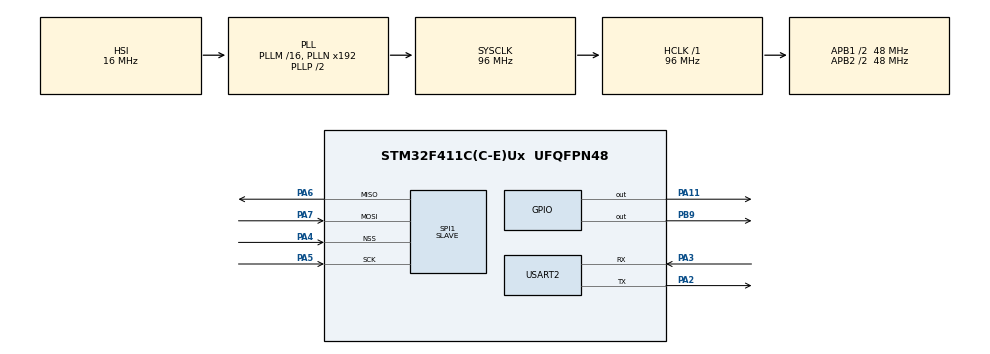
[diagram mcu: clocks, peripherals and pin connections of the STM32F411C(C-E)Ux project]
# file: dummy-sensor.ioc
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Dma.Request0=SPI1_RX
Dma.Request1=SPI1_TX
Dma.SPI1_RX.0.Direction=DMA_PERIPH_TO_MEMORY
Dma.SPI1_RX.0.FIFOMode=DMA_FIFOMODE_DISABLE
Dma.SPI1_RX.0.Instance=DMA2_Stream0
Dma.SPI1_RX.0.MemDataAlignment=DMA_MDATAALIGN_BYTE
Dma.SPI1_RX.0.MemInc=DMA_MINC_ENABLE
Dma.SPI1_RX.0.Mode=DMA_NORMAL
Dma.SPI1_RX.0.PeriphDataAlignment=DMA_PDATAALIGN_BYTE
Dma.SPI1_RX.0.PeriphInc=DMA_PINC_DISABLE
Dma.SPI1_RX.0.Priority=DMA_PRIORITY_LOW
Dma.SPI1_TX.1.Direction=DMA_MEMORY_TO_PERIPH
Dma.SPI1_TX.1.FIFOMode=DMA_FIFOMODE_DISABLE
Dma.SPI1_TX.1.Instance=DMA2_Stream2
Dma.SPI1_TX.1.MemDataAlignment=DMA_MDATAALIGN_BYTE
Dma.SPI1_TX.1.MemInc=DMA_MINC_ENABLE
Dma.SPI1_TX.1.Mode=DMA_CIRCULAR
Dma.SPI1_TX.1.PeriphDataAlignment=DMA_PDATAALIGN_BYTE
Dma.SPI1_TX.1.PeriphInc=DMA_PINC_DISABLE
Dma.SPI1_TX.1.Priority=DMA_PRIORITY_LOW
Mcu.Family=STM32F4
Mcu.Name=STM32F411C(C-E)Ux
Mcu.Package=UFQFPN48
NVIC.DMA2_Stream0_IRQn=true\:0\:0\:false\:false\:true\:false\:true\:true
NVIC.DMA2_Stream2_IRQn=true\:0\:0\:false\:false\:true\:false\:true\:true
NVIC.PriorityGroup=NVIC_PRIORITYGROUP_4
NVIC.SPI1_IRQn=true\:0\:0\:false\:false\:true\:true\:true\:true
PA11.Signal=GPIO_Output
PA13.Mode=Serial_Wire
PA13.Signal=SYS_JTMS-SWDIO
PA14.Mode=Serial_Wire
PA14.Signal=SYS_JTCK-SWCLK
PA2.Mode=Asynchronous
PA2.Signal=USART2_TX
PA3.Mode=Asynchronous
PA3.Signal=USART2_RX
PA4.Mode=NSS_Signal_Hard_Input
PA4.Signal=SPI1_NSS
PA5.Mode=Full_Duplex_Slave
PA5.Signal=SPI1_SCK
PA6.Mode=Full_Duplex_Slave
PA6.Signal=SPI1_MISO
PA7.Mode=Full_Duplex_Slave
PA7.Signal=SPI1_MOSI
PB9.Signal=GPIO_Output
ProjectManager.HeapSize=0x200
ProjectManager.StackSize=0x400
ProjectManager.TargetToolchain=STM32CubeIDE
RCC.AHBFreq_Value=96000000
RCC.APB1CLKDivider=RCC_HCLK_DIV2
RCC.APB1Freq_Value=48000000
RCC.APB1TimFreq_Value=96000000
RCC.APB2CLKDivider=RCC_HCLK_DIV2
RCC.APB2Freq_Value=48000000
RCC.APB2TimFreq_Value=96000000
RCC.CortexFreq_Value=96000000
RCC.HCLKFreq_Value=96000000
RCC.HSE_VALUE=25000000
RCC.HSI_VALUE=16000000
RCC.LSE_VALUE=32768
RCC.SYSCLKFreq_VALUE=96000000
RCC.SYSCLKSource=RCC_SYSCLKSOURCE_PLLCLK
RCC.VCOOutputFreq_Value=192000000
SPI1.Direction=SPI_DIRECTION_2LINES
SPI1.Mode=SPI_MODE_SLAVE
SPI1.VirtualNSS=VM_NSSHARD
SPI1.VirtualType=VM_SLAVE
USART2.VirtualMode=VM_ASYNC
board=custom

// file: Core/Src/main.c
/* USER CODE BEGIN Header */
/**
  ******************************************************************************
  * @file           : main.c
  * @brief          : Main program body
  ******************************************************************************
  * @attention
  *
  * Copyright (c) 2025 STMicroelectronics.
  * All rights reserved.
  *
  * This software is licensed under terms that can be found in the LICENSE file
  * in the root directory of this software component.
  * If no LICENSE file comes with this software, it is provided AS-IS.
  *
  ******************************************************************************
  */
/* USER CODE END Header */
#include "main.h"

/* USER CODE BEGIN Includes */

#include "stdio.h"
#include "string.h"
#include "stdbool.h"

/* USER CODE END Includes */

SPI_HandleTypeDef hspi1;
DMA_HandleTypeDef hdma_spi1_rx;
DMA_HandleTypeDef hdma_spi1_tx;

UART_HandleTypeDef huart2;

/* USER CODE BEGIN PV */

//uint32_t dummyData = 35;

volatile uint8_t dataReceived = 0;
uint32_t num_bytes = 0;
uint8_t ackByte = 67;
char buffer[4];
#define BUFFER_SIZE 32768
#define NUM_BUFFER_ELEMENTS BUFFER_SIZE
#define HALF_BUFFER_ELEMENTS NUM_BUFFER_ELEMENTS / 2

uint8_t outputBuffer[NUM_BUFFER_ELEMENTS];

volatile uint32_t curr_transmitted_num = 0;
volatile bool first_half_empty = false;
volatile bool second_half_empty = false;

/* USER CODE END PV */

void SystemClock_Config(void);
static void MX_GPIO_Init(void);
static void MX_DMA_Init(void);
static void MX_SPI1_Init(void);
static void MX_USART2_UART_Init(void);

/* USER CODE BEGIN 0 */

int __io_putchar(int ch) {
      HAL_UART_Transmit(&huart2, (uint8_t*) &ch, 1, 0xFFFF);
      return ch;
}

void HAL_SPI_RxCpltCallback(SPI_HandleTypeDef *hspi)
{
    dataReceived = true;
}

void HAL_SPI_TxHalfCpltCallback(SPI_HandleTypeDef *hspi)
{
//	first_half_empty = true;
	curr_transmitted_num += HALF_BUFFER_ELEMENTS;

}

void HAL_SPI_TxCpltCallback(SPI_HandleTypeDef *hspi)
{
	curr_transmitted_num += HALF_BUFFER_ELEMENTS;
}

enum Comm_State{
	IDLE,
	AWAITING_ARG,
	TRANSMITTING
};

enum Comm_State curr_comm_state = IDLE;

/* USER CODE END 0 */

int main(void)
{

  /* MCU Configuration--------------------------------------------------------*/

  /* Reset of all peripherals, Initializes the Flash interface and the Systick. */
  HAL_Init();

  /* Configure the system clock */
  SystemClock_Config();

  /* Initialize all configured peripherals */
  MX_GPIO_Init();
  MX_DMA_Init();
  MX_SPI1_Init();
  MX_USART2_UART_Init();
  /* USER CODE BEGIN 2 */
  HAL_SPI_Receive_DMA(&hspi1, (uint8_t *)buffer, 1);
//  HAL_SPI_Receive_DMA(&hspi1, &dummyData, (uint8_t *)buffer, 1);
//  HAL_SPI_Receive_DMA(&hspi1, (uint8_t *)buffer, 1);
  printf("I am waiting for the data\n");

  for (uint32_t i = 0; i < NUM_BUFFER_ELEMENTS; i++){
	  outputBuffer[i] = i % 256;
	  curr_transmitted_num++;
//	  printf("%u\n",outputBuffer[i]);
  }
//  outputBuffer[133] = 0x67;
//  printf("initialized buffer[15] is %u\n", (unsigned)buffer[15]);
  /* USER CODE END 2 */

  /* Infinite loop */
  /* USER CODE BEGIN WHILE */
  while (1)
  {

	  switch(curr_comm_state){
	  	  case(IDLE):
			if(dataReceived && buffer[0] == 'S'){
				HAL_SPI_Transmit(&hspi1, (uint8_t *)&ackByte, 1,  1000);
				HAL_SPI_Receive_DMA(&hspi1, (uint8_t *)buffer, 4);
				dataReceived = false;
				curr_comm_state = AWAITING_ARG;
				printf("sent the ack byte\n");
		    }
			else{
				HAL_SPI_Receive_DMA(&hspi1, (uint8_t *)buffer, 1);
			}
	  	  break;
	  	  case(AWAITING_ARG):
	  		if(dataReceived){
	  			num_bytes = *((uint32_t*)buffer);
	  			HAL_SPI_Transmit_DMA(&hspi1, (uint8_t *)outputBuffer, BUFFER_SIZE);
	  			dataReceived = false;
	  			printf("about to send %lu bytes\n", num_bytes);
	  			curr_comm_state = TRANSMITTING;
	  		}
	  	  break;
	  	  case(TRANSMITTING):
	  	  while (curr_transmitted_num*4 < num_bytes){
	  	  }
	  	  HAL_GPIO_WritePin(GPIOB, GPIO_PIN_9, GPIO_PIN_SET);
	  	  curr_comm_state = IDLE;

	  	  break;

	  };

    /* USER CODE END WHILE */

  }
}

void SystemClock_Config(void)
{
  RCC_OscInitTypeDef RCC_OscInitStruct = {0};
  RCC_ClkInitTypeDef RCC_ClkInitStruct = {0};

  /** Configure the main internal regulator output voltage
  */
  __HAL_RCC_PWR_CLK_ENABLE();
  __HAL_PWR_VOLTAGESCALING_CONFIG(PWR_REGULATOR_VOLTAGE_SCALE1);

  /** Initializes the RCC Oscillators according to the specified parameters
  * in the RCC_OscInitTypeDef structure.
  */
  RCC_OscInitStruct.OscillatorType = RCC_OSCILLATORTYPE_HSI;
  RCC_OscInitStruct.HSIState = RCC_HSI_ON;
  RCC_OscInitStruct.HSICalibrationValue = RCC_HSICALIBRATION_DEFAULT;
  RCC_OscInitStruct.PLL.PLLState = RCC_PLL_ON;
  RCC_OscInitStruct.PLL.PLLSource = RCC_PLLSOURCE_HSI;
  RCC_OscInitStruct.PLL.PLLM = 16;
  RCC_OscInitStruct.PLL.PLLN = 192;
  RCC_OscInitStruct.PLL.PLLP = RCC_PLLP_DIV2;
  RCC_OscInitStruct.PLL.PLLQ = 4;
  if (HAL_RCC_OscConfig(&RCC_OscInitStruct) != HAL_OK)
  {
    Error_Handler();
  }

  /** Initializes the CPU, AHB and APB buses clocks
  */
  RCC_ClkInitStruct.ClockType = RCC_CLOCKTYPE_HCLK|RCC_CLOCKTYPE_SYSCLK
                              |RCC_CLOCKTYPE_PCLK1|RCC_CLOCKTYPE_PCLK2;
  RCC_ClkInitStruct.SYSCLKSource = RCC_SYSCLKSOURCE_PLLCLK;
  RCC_ClkInitStruct.AHBCLKDivider = RCC_SYSCLK_DIV1;
  RCC_ClkInitStruct.APB1CLKDivider = RCC_HCLK_DIV2;
  RCC_ClkInitStruct.APB2CLKDivider = RCC_HCLK_DIV2;

  if (HAL_RCC_ClockConfig(&RCC_ClkInitStruct, FLASH_LATENCY_3) != HAL_OK)
  {
    Error_Handler();
  }
}

static void MX_SPI1_Init(void)
{

  /* SPI1 parameter configuration*/
  hspi1.Instance = SPI1;
  hspi1.Init.Mode = SPI_MODE_SLAVE;
  hspi1.Init.Direction = SPI_DIRECTION_2LINES;
  hspi1.Init.DataSize = SPI_DATASIZE_8BIT;
  hspi1.Init.CLKPolarity = SPI_POLARITY_LOW;
  hspi1.Init.CLKPhase = SPI_PHASE_1EDGE;
  hspi1.Init.NSS = SPI_NSS_HARD_INPUT;
  hspi1.Init.FirstBit = SPI_FIRSTBIT_MSB;
  hspi1.Init.TIMode = SPI_TIMODE_DISABLE;
  hspi1.Init.CRCCalculation = SPI_CRCCALCULATION_DISABLE;
  hspi1.Init.CRCPolynomial = 10;
  if (HAL_SPI_Init(&hspi1) != HAL_OK)
  {
    Error_Handler();
  }

}

static void MX_USART2_UART_Init(void)
{

  huart2.Instance = USART2;
  huart2.Init.BaudRate = 115200;
  huart2.Init.WordLength = UART_WORDLENGTH_8B;
  huart2.Init.StopBits = UART_STOPBITS_1;
  huart2.Init.Parity = UART_PARITY_NONE;
  huart2.Init.Mode = UART_MODE_TX_RX;
  huart2.Init.HwFlowCtl = UART_HWCONTROL_NONE;
  huart2.Init.OverSampling = UART_OVERSAMPLING_16;
  if (HAL_UART_Init(&huart2) != HAL_OK)
  {
    Error_Handler();
  }

}

static void MX_DMA_Init(void)
{

  /* DMA controller clock enable */
  __HAL_RCC_DMA2_CLK_ENABLE();

  /* DMA interrupt init */
  /* DMA2_Stream0_IRQn interrupt configuration */
  HAL_NVIC_SetPriority(DMA2_Stream0_IRQn, 0, 0);
  HAL_NVIC_EnableIRQ(DMA2_Stream0_IRQn);
  /* DMA2_Stream2_IRQn interrupt configuration */
  HAL_NVIC_SetPriority(DMA2_Stream2_IRQn, 0, 0);
  HAL_NVIC_EnableIRQ(DMA2_Stream2_IRQn);

}

static void MX_GPIO_Init(void)
{
  GPIO_InitTypeDef GPIO_InitStruct = {0};

  /* GPIO Ports Clock Enable */
  __HAL_RCC_GPIOA_CLK_ENABLE();
  __HAL_RCC_GPIOB_CLK_ENABLE();

  /*Configure GPIO pin Output Level */
  HAL_GPIO_WritePin(GPIOA, GPIO_PIN_11, GPIO_PIN_RESET);

  /*Configure GPIO pin Output Level */
  HAL_GPIO_WritePin(GPIOB, GPIO_PIN_9, GPIO_PIN_RESET);

  /*Configure GPIO pin : PA11 */
  GPIO_InitStruct.Pin = GPIO_PIN_11;
  GPIO_InitStruct.Mode = GPIO_MODE_OUTPUT_PP;
  GPIO_InitStruct.Pull = GPIO_NOPULL;
  GPIO_InitStruct.Speed = GPIO_SPEED_FREQ_LOW;
  HAL_GPIO_Init(GPIOA, &GPIO_InitStruct);

  /*Configure GPIO pin : PB9 */
  GPIO_InitStruct.Pin = GPIO_PIN_9;
  GPIO_InitStruct.Mode = GPIO_MODE_OUTPUT_PP;
  GPIO_InitStruct.Pull = GPIO_NOPULL;
  GPIO_InitStruct.Speed = GPIO_SPEED_FREQ_LOW;
  HAL_GPIO_Init(GPIOB, &GPIO_InitStruct);

}

void Error_Handler(void)
{
  __disable_irq();
  while (1)
  {
  }
}
